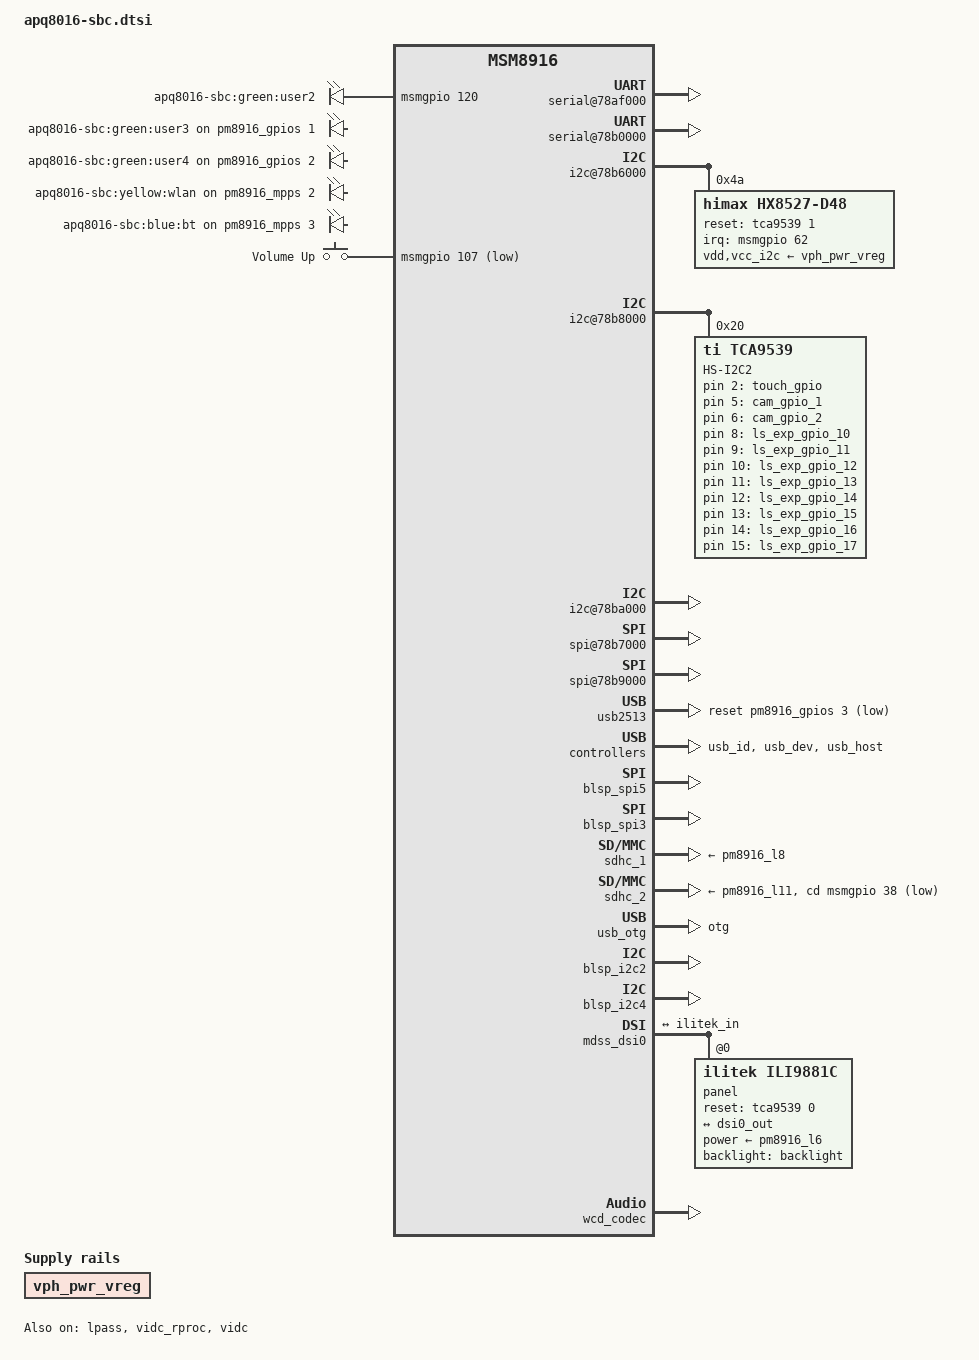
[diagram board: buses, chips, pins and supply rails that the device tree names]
/*
 * Copyright (c) 2015, The Linux Foundation. All rights reserved.
 *
 * This program is free software; you can redistribute it and/or modify
 * it under the terms of the GNU General Public License version 2 and
 * only version 2 as published by the Free Software Foundation.
 *
 * This program is distributed in the hope that it will be useful,
 * but WITHOUT ANY WARRANTY; without even the implied warranty of
 * MERCHANTABILITY or FITNESS FOR A PARTICULAR PURPOSE.  See the
 * GNU General Public License for more details.
 */

#include <dt-bindings/gpio/gpio.h>
#include <dt-bindings/input/input.h>
#include <dt-bindings/sound/apq8016-lpass.h>
#include "msm8916.dtsi"
#include "pm8916.dtsi"
#include "apq8016-sbc-soc-pins.dtsi"
#include "apq8016-sbc-pmic-pins.dtsi"
#include "msm8916-mdss.dtsi"


/ {
	aliases {
		serial0 = &blsp1_uart2;
		serial1 = &blsp1_uart1;
		usid0 = &pm8916_0;
		i2c0	= &blsp_i2c2;
		i2c1	= &blsp_i2c6;
		i2c3	= &blsp_i2c4;
		spi0	= &blsp_spi5;
		spi1	= &blsp_spi3;
	};

	chosen {
		stdout-path = "serial0";
	};

	smd {
		rpm {
			rpm_requests {
				pm8916-regulators {

					vdd_l1_l2_l3-supply = <&pm8916_s3>;
					vdd_l5-supply = <&pm8916_s3>;
					vdd_l4_l5_l6-supply = <&pm8916_s4>;
					vdd_l7-supply = <&pm8916_s4>;

					s1 {
						regulator-min-microvolt = <375000>;
						regulator-max-microvolt = <1562000>;

					};
					s2 {
						regulator-min-microvolt = <375000>;
						regulator-max-microvolt = <1562000>;

					};
					s3 {
						regulator-min-microvolt = <375000>;
						regulator-max-microvolt = <1562000>;

					};
					s4 {
						regulator-min-microvolt = <1800000>;
						regulator-max-microvolt = <1800000>;

						regulator-always-on;
						regulator-boot-on;
					};

					l1 {
						regulator-min-microvolt = <375000>;
						regulator-max-microvolt = <1525000>;

					};
					l2 {
						regulator-min-microvolt = <375000>;
						regulator-max-microvolt = <1525000>;

					};
					l3 {
						regulator-min-microvolt = <375000>;
						regulator-max-microvolt = <1525000>;

					};
					l4 {
						regulator-min-microvolt = <1750000>;
						regulator-max-microvolt = <3337000>;

					};
					l5 {
						regulator-min-microvolt = <1750000>;
						regulator-max-microvolt = <3337000>;

					};
					l6 {
						regulator-min-microvolt = <1750000>;
						regulator-max-microvolt = <3337000>;

					};
					l7 {
						regulator-min-microvolt = <1750000>;
						regulator-max-microvolt = <3337000>;

					};
					l8 {
						regulator-min-microvolt = <1750000>;
						regulator-max-microvolt = <3337000>;

					};
					l9 {
						regulator-min-microvolt = <1750000>;
						regulator-max-microvolt = <3337000>;

					};
					l10 {
						regulator-min-microvolt = <1750000>;
						regulator-max-microvolt = <3337000>;

					};
					l11 {
						regulator-min-microvolt = <1750000>;
						regulator-max-microvolt = <3337000>;

					};
					l12 {
						regulator-min-microvolt = <1750000>;
						regulator-max-microvolt = <3337000>;

					};
					l13 {
						regulator-min-microvolt = <1750000>;
						regulator-max-microvolt = <3337000>;

					};
					l14 {
						regulator-min-microvolt = <1750000>;
						regulator-max-microvolt = <3337000>;

					};
					l15 {
						regulator-min-microvolt = <1750000>;
						regulator-max-microvolt = <3337000>;

					};
					l16 {
						regulator-min-microvolt = <1750000>;
						regulator-max-microvolt = <3337000>;

					};
					l17 {
						regulator-min-microvolt = <1750000>;
						regulator-max-microvolt = <3337000>;

					};
					l18 {
						regulator-min-microvolt = <1750000>;
						regulator-max-microvolt = <3337000>;

					};
				};
			};
		};
	};

	soc {
		serial@78af000 {
			label = "LS-UART0";
			status = "okay";
			pinctrl-names = "default", "sleep";
			pinctrl-0 = <&blsp1_uart1_default>;
			pinctrl-1 = <&blsp1_uart1_sleep>;
		};

		serial@78b0000 {
			label = "LS-UART1";
			status = "okay";
			pinctrl-names = "default", "sleep";
			pinctrl-0 = <&blsp1_uart2_default>;
			pinctrl-1 = <&blsp1_uart2_sleep>;
		};

		i2c@78b6000 {
		/* On Low speed expansion */
			label = "LS-I2C0";
			status = "okay";

			himax@4a {
				compatible = "himax,hx8527-d48";
				reg = <0x4a>;
				interrupt-parent = <&msmgpio>;
				interrupts = <62 0x2>;
				vdd-supply = <&vph_pwr_vreg>;
				vcc_i2c-supply = <&vph_pwr_vreg>;
				himax,name = "hx8527-d48";
				himax,reset-gpio = <&tca9539 1 0>;
				himax,irq-gpio = <&msmgpio 62 0x00>;
				himax,i2c-pull-up;
				himax,reg-en;
				himax,num-max-touches = <5>;
			};
		};

		i2c@78b8000 {

			tca9539: tca9539@20 {
					compatible = "ti,tca9539";
					reg = <0x20>;
					gpio-controller;
					#gpio-cells = <2>;
					interrupt-controller;
					#interrupt-cells = <2>;
					/* On High speed expansion */
					label = "HS-I2C2";
					status = "okay";
			};
		};

		/*
		* vph_pwr_vreg represents the unregulated battery voltage supply
		* VPH_PWR that is present whenever the device is powered on.
		*/
		vph_pwr_vreg: vph_pwr_vreg {
			compatible = "regulator-fixed";
			regulator-name = "vph_pwr";
			status = "ok";
			regulator-always-on;
			enable-active-high;
		};

		i2c@78ba000 {
			/* On Low speed expansion */
			status = "okay";
		};

		spi@78b7000 {
		/* On High speed expansion */
			label = "HS-SPI1";
			status = "okay";
		};

		spi@78b9000 {
		/* On Low speed expansion */
			label = "LS-SPI0";
			status = "okay";
		};

		leds {
			pinctrl-names = "default";
			pinctrl-0 = <&msmgpio_leds>,
				    <&pm8916_gpios_leds>,
				    <&pm8916_mpps_leds>;

			compatible = "gpio-leds";

/*
			led@1 {
				label = "apq8016-sbc:green:user1";
				gpios = <&msmgpio 21 GPIO_ACTIVE_HIGH>;
				linux,default-trigger = "heartbeat";
				default-state = "off";
			};
*/

			led@2 {
				label = "apq8016-sbc:green:user2";
				gpios = <&msmgpio 120 GPIO_ACTIVE_HIGH>;
				linux,default-trigger = "mmc0";
				default-state = "off";
			};

			led@3 {
				label = "apq8016-sbc:green:user3";
				gpios = <&pm8916_gpios 1 GPIO_ACTIVE_HIGH>;
				linux,default-trigger = "mmc1";
				default-state = "off";
			};

			led@4 {
				label = "apq8016-sbc:green:user4";
				gpios = <&pm8916_gpios 2 GPIO_ACTIVE_HIGH>;
				linux,default-trigger = "none";
				default-state = "off";
			};

			led@5 {
				label = "apq8016-sbc:yellow:wlan";
				gpios = <&pm8916_mpps 2 GPIO_ACTIVE_HIGH>;
				linux,default-trigger = "wlan";
				default-state = "off";
			};

			led@6 {
				label = "apq8016-sbc:blue:bt";
				gpios = <&pm8916_mpps 3 GPIO_ACTIVE_HIGH>;
				linux,default-trigger = "bt";
				default-state = "off";
			};
			/* TOUCH_GPIO */
			led@7 {
				label = "touch_gpio";
				gpios = <&tca9539 2 GPIO_ACTIVE_HIGH>;
				linux,default-trigger = "none";
				default-state = "on";
			};
			/* SCAM_PWDN
			* Disble SCAM_PWDN, MCAM_PWDN gpio registration
			* will be used in camera driver
			*/

			/*led@8 {
				label = "scam_pwdn";
				gpios = <&tca9539 3 GPIO_ACTIVE_HIGH>;
				linux,default-trigger = "none";
				default-state = "on";
			};

			MCAM_PWDN
			led@9 {
				label = "mcam_pwdn";
				gpios = <&tca9539 4 GPIO_ACTIVE_HIGH>;
				linux,default-trigger = "none";
				default-state = "on";
			};
			*/

			/* CAM_GPIO_1 */
			led@10 {
				label = "cam_gpio_1";
				gpios = <&tca9539 5 GPIO_ACTIVE_HIGH>;
				linux,default-trigger = "none";
				default-state = "on";
			};
			/* CAM_GPIO_2 */
			led@11 {
				label = "cam_gpio_2";
				gpios = <&tca9539 6 GPIO_ACTIVE_HIGH>;
				linux,default-trigger = "none";
				default-state = "on";
			};
			/* LS_EXP_GPIO_10 */
			led@12 {
				label = "ls_exp_gpio_10";
				gpios = <&tca9539 8 GPIO_ACTIVE_HIGH>;
				linux,default-trigger = "none";
				default-state = "on";
			};
			/* LS_EXP_GPIO_11*/
			led@13 {
				label = "ls_exp_gpio_11";
				gpios = <&tca9539 9 GPIO_ACTIVE_HIGH>;
				linux,default-trigger = "none";
				default-state = "off";
			};
			/* LS_EXP_GPIO_12 */
			led@14 {
				label = "ls_exp_gpio_12";
				gpios = <&tca9539 10 GPIO_ACTIVE_HIGH>;
				linux,default-trigger = "none";
				default-state = "off";
			};
			/* LS_EXP_GPIO_13 */
			led@15 {
				label = "ls_exp_gpio_13";
				gpios = <&tca9539 11 GPIO_ACTIVE_HIGH>;
				linux,default-trigger = "none";
				default-state = "off";
			};
			/* LS_EXP_GPIO_14 */
			led@16 {
				label = "ls_exp_gpio_14";
				gpios = <&tca9539 12 GPIO_ACTIVE_HIGH>;
				linux,default-trigger = "none";
				default-state = "off";
			};
			/* LS_EXP_GPIO_15 */
			led@17 {
				label = "ls_exp_gpio_15";
				gpios = <&tca9539 13 GPIO_ACTIVE_HIGH>;
				linux,default-trigger = "none";
				default-state = "on";
			};
			/* LS_EXP_GPIO_16 */
			led@18 {
				label = "ls_exp_gpio_16";
				gpios = <&tca9539 14 GPIO_ACTIVE_HIGH>;
				linux,default-trigger = "none";
				default-state = "on";
			};
			/* LS_EXP_GPIO_17 */
			led@19 {
				label = "ls_exp_gpio_17";
				gpios = <&tca9539 15 GPIO_ACTIVE_HIGH>;
				linux,default-trigger = "none";
				default-state = "on";
			};
	};

	usb2513 {
		compatible = "smsc,usb3503";
		reset-gpios = <&pm8916_gpios 3 GPIO_ACTIVE_LOW>;
		initial-mode = <1>;
	};

	usb_id: usb-id {
		interrupt-parent = <&msmgpio>;
		compatible = "linux,extcon-usb-gpio";
		id-gpio = <&msmgpio 121 GPIO_ACTIVE_HIGH>;
		pinctrl-names = "default";
		pinctrl-0 = <&usb_id_default>;
	};

	gpio_keys {
		compatible = "gpio-keys";
		#address-cells = <1>;
		#size-cells = <0>;
		autorepeat;
		/*i2c-bus = <&blsp_i2c0>;*/
		pinctrl-names = "default";
		pinctrl-0 = <&msm_key_volp_n_default>;

		button@0 {
			label = "Volume Up";
			linux,code = <KEY_VOLUMEUP>;
			gpios = <&msmgpio 107 GPIO_ACTIVE_LOW>;
		};
	};
};

};
&spmi_pon {
	/* Overwrite RESETIN_N keyboard scan code*/
	linux,code = <KEY_VOLUMEDOWN>;
};

&blsp_dma {
	status = "okay";
};

&blsp_spi5 {
	status = "okay";
};

&blsp_spi3 {
	status = "okay";
};

&sdhc_1 {
	vmmc-supply = <&pm8916_l8>;
	vqmmc-supply = <&pm8916_l5>;

	pinctrl-names = "default", "sleep";
	pinctrl-0 = <&sdc1_clk_on &sdc1_cmd_on &sdc1_data_on>;
	pinctrl-1 = <&sdc1_clk_off &sdc1_cmd_off &sdc1_data_off>;
	status = "okay";
};

&sdhc_2 {
	vmmc-supply = <&pm8916_l11>;
	vqmmc-supply = <&pm8916_l12>;

	pinctrl-names = "default", "sleep";
	pinctrl-0 = <&sdc2_clk_on &sdc2_cmd_on &sdc2_data_on &sdc2_cd_on>;
	pinctrl-1 = <&sdc2_clk_off &sdc2_cmd_off &sdc2_data_off &sdc2_cd_off>;
	#address-cells = <0>;
	interrupt-parent = <&sdhc_2>;
	interrupts = <0 1 2>;
	#interrupt-cells = <1>;
	interrupt-map-mask = <0xffffffff>;
	interrupt-map = <0 &intc 0 125 0
			1 &intc 0 221 0
			2 &msmgpio 38 0>;
	interrupt-names = "hc_irq", "pwr_irq", "status_irq";
	cd-gpios = <&msmgpio 38 0x1>;

	status = "okay";
};

&usb_dev {
	extcon = <&usb_id>, <&usb_id>;
	status = "okay";
};

&usb_host {
	status = "okay";
};

&sdhc_1 {
	status = "okay";
};

&usb_otg {
	extcon = <&usb_id>, <&usb_id>;
	dr_mode = "otg";
	status = "okay";
	switch-gpio = <&pm8916_gpios 4 GPIO_ACTIVE_HIGH>; // D+/D- lines: 1 - Routed to HUB, 0 - Device
	pinctrl-names = "default";
	pinctrl-0 = <&usb_sw_sel_pm>;
};

&blsp_i2c2 {
	status = "ok";
	/*adv_bridge: bridge@39 {
		status = "ok";
		compatible = "adi,adv7533";
		reg = <0x39>;
		interrupt-parent = <&msmgpio>;
		interrupts = <31 2>;
		avdd-supply = <&pm8916_l6>;
		v3p3-supply = <&pm8916_l17>;
		adi,dsi-lanes = <4>;
		pd-gpios = <&msmgpio 32 0>;
		pinctrl-names = "default","sleep";
		pinctrl-0 = <&adv7533_int_active &adv7533_switch_active>;
		pinctrl-1 = <&adv7533_int_suspend &adv7533_switch_suspend>;
		#sound-dai-cells = <1>;
		port {
			adv_in: endpoint {
				remote-endpoint = <&dsi_out>;
			};
		};
	};
*/

};



&blsp_i2c4 {
	status = "ok";

};


/*
&mdss_dsi0 {
	status = "ok";
	port {
		dsi_out: endpoint {
			remote-endpoint = <&adv_in>;
		};
	};
};

*/

&mdss_dsi0
{
	status = "ok";
	panel@0 {
		compatible = "ilitek,ili9881c";
		reg = <0>;
		power-supply = <&pm8916_l6>;
		backlight = <&backlight>;
		reset-gpio = <&tca9539 0 0>;
		port {
			ilitek_in: endpoint {
				remote-endpoint = <&dsi0_out>;
			};
		};
	};
	port {
		dsi0_out: endpoint {
			remote-endpoint = <&ilitek_in>;
		};
	};
}
&lpass {
	status = "okay";
};

&wcd_codec {
	status = "okay";
	clocks = <&gcc GCC_CODEC_DIGCODEC_CLK>;
	clock-names = "mclk";
	qcom,lpass-codec-core = <&lpass_codec_core>;
};
	/*
	Internal Codec
		playback - Primary MI2S
		capture - Ter MI2S

	External Primary:
		playback - secondary MI2S
		capture - Quat MI2S

	External Secondary:
		playback - Quat MI2S
		capture - Quat MI2S
	*/
&sound {
	status = "okay";
	pinctrl-0 = <&cdc_pdm_lines_act &ext_sec_tlmm_lines_act &ext_mclk_tlmm_lines_act>;
	pinctrl-1 = <&cdc_pdm_lines_sus &ext_sec_tlmm_lines_sus &ext_mclk_tlmm_lines_sus>;
	pinctrl-names = "default", "sleep";
	qcom,model = "DB410c";
	qcom,audio-routing =
		"AMIC1", "MIC BIAS External",
		"AMIC2", "MIC BIAS Internal2",
		"AMIC3", "MIC BIAS External",
		"DMIC1", "MIC BIAS Internal1";

	/* External Primary or External Secondary -ADV7533 HDMI */
	/*	
	external-dai-link@0 {
		link-name = "ADV7533";

		cpu {
			sound-dai = <&lpass MI2S_QUATERNARY>;
		};
		codec {
			sound-dai = <&adv_bridge 0>;
		};
	};
	*/

	internal-codec-playback-dai-link@0 {		/* I2S - Internal codec */
		link-name = "WCD";
		cpu { /* PRIMARY */
			sound-dai = <&lpass MI2S_PRIMARY>;
		};
		codec {
			sound-dai = <&wcd_codec 0>;
		};
	};

	internal-codec-capture-dai-link@0 {		/* I2S - Internal codec */
		link-name = "WCD-Capture";
		cpu { /* PRIMARY */
			sound-dai = <&lpass MI2S_TERTIARY>;
		};
		codec {
			sound-dai = <&wcd_codec 1>;
		};
	};

};

/* default regulators required for mezzanine boards */
&pm8916_l15 {
	regulator-always-on;
};

&vidc_rproc {
	status = "okay";
};

&vidc {
	status = "okay";
};

&ov5640_pri_camera{
	pwdn-gpios = <&tca9539 4 0>;
};

&ov5640_sec_camera{
	pwdn-gpios = <&tca9539 3 0>;
};
